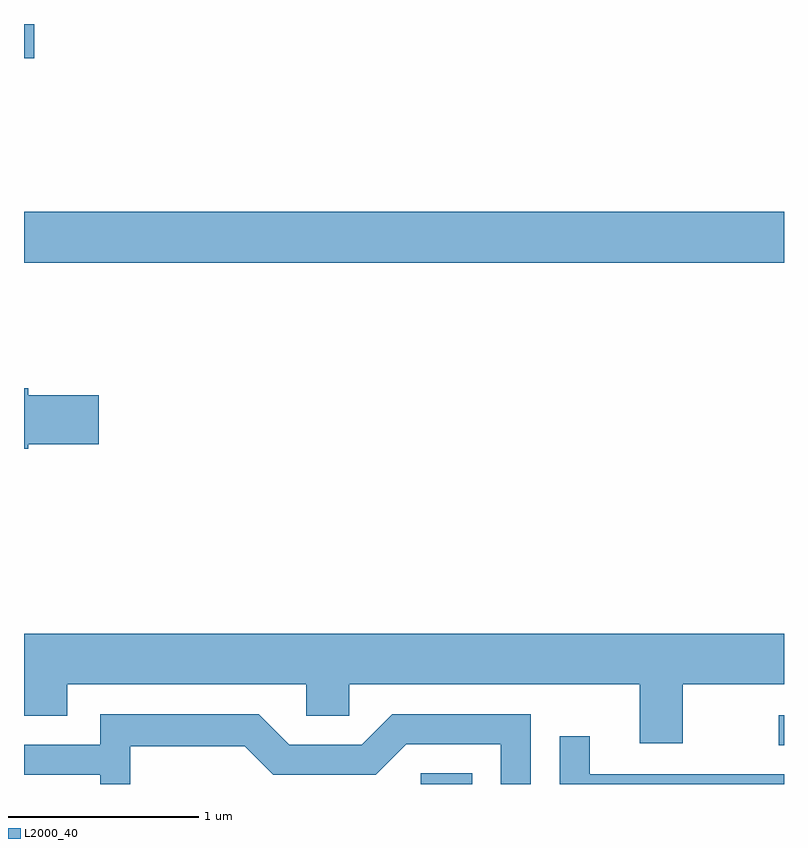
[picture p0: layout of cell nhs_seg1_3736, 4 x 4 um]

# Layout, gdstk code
import gdstk
lib = gdstk.Library(unit=1e-6, precision=1e-09)
def R(c, l, rs):  # rectangles x0, y0, x1, y1
    for r in rs: c.add(gdstk.rectangle(r[:2], r[2:], *l))
def P(c, l, *ps):  # polygons
    for p in ps: c.add(gdstk.Polygon(p, *l))
L2000_40 = (2000, 40)

nhs_seg1_3736 = lib.new_cell('nhs_seg1_3736')
R(nhs_seg1_3736, L2000_40, [(299.698,905.712,299.969,905.769), (301.583,905.916,301.611,906.074), (297.611,908.456,301.611,908.724), (297.611,909.531,297.664,909.712)])
P(nhs_seg1_3736, L2000_40, [(297.634,907.501),(298.004,907.501),(298.004,907.759),(297.634,907.759),(297.634,907.794),(297.611,907.794),(297.611,907.476),(297.634,907.476)],
  [(301.079,906.236),(301.611,906.236),(301.611,906.504),(297.611,906.504),(297.611,906.071),(297.839,906.071),(297.839,906.236),(299.096,906.236),(299.096,906.071),(299.324,906.071),(299.324,906.236),(300.851,906.236),(300.851,905.926),(301.079,905.926)],
  [(298.169,905.911),(298.774,905.911),(298.924,905.761),(299.462,905.761),(299.622,905.921),(300.121,905.921),(300.121,905.712),(300.279,905.712),(300.279,906.079),(299.549,906.079),(299.389,905.919),(299.007,905.919),(298.847,906.079),(298.011,906.079),(298.011,905.919),(297.611,905.919),(297.611,905.761),(298.011,905.761),(298.011,905.712),(298.169,905.712)],
  [(301.611,905.764),(300.589,905.764),(300.589,905.963),(300.431,905.963),(300.431,905.712),(301.611,905.712)])

lib.write_gds('nhs_seg1_3736.gds')
